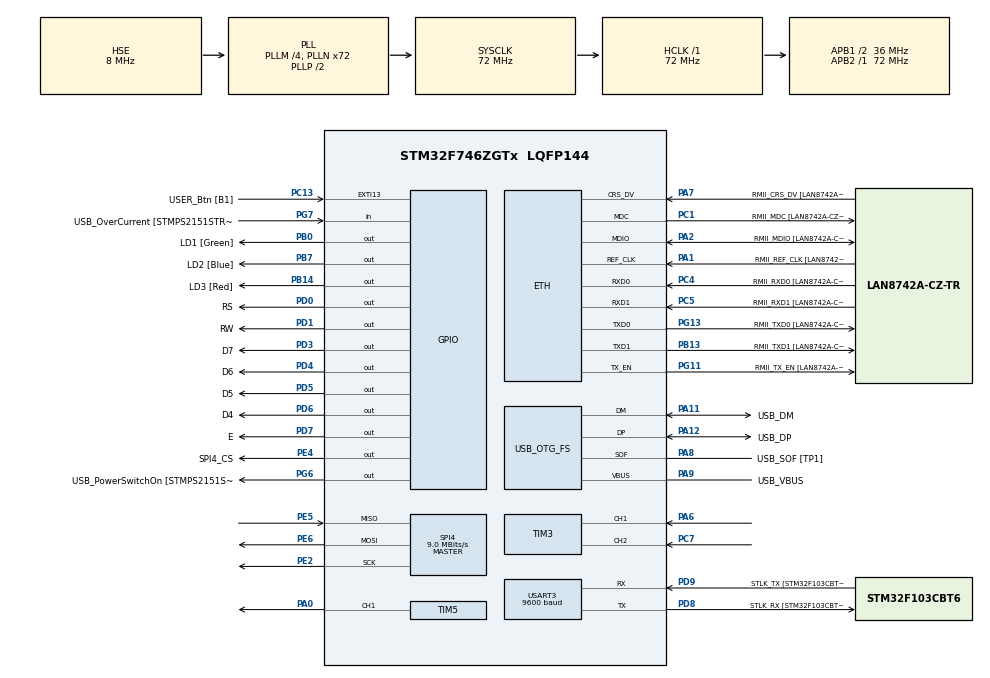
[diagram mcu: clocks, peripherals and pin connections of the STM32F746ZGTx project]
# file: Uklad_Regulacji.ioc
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ETH.MediaInterface=HAL_ETH_RMII_MODE
Mcu.Family=STM32F7
Mcu.Name=STM32F746ZGTx
Mcu.Package=LQFP144
NVIC.PriorityGroup=NVIC_PRIORITYGROUP_4
NVIC.TIM2_IRQn=true\:0\:0\:false\:false\:true\:true\:true\:true
NVIC.USART3_IRQn=true\:0\:0\:false\:false\:true\:true\:true\:true
PA0/WKUP.Signal=S_TIM5_CH1
PA1.GPIO_Label=RMII_REF_CLK [LAN8742A-CZ-TR_REFCLK0]
PA1.Mode=RMII
PA1.Signal=ETH_REF_CLK
PA10.GPIO_Label=USB_ID
PA10.Signal=USB_OTG_FS_ID
PA11.GPIO_Label=USB_DM
PA11.Mode=Device_Only
PA11.Signal=USB_OTG_FS_DM
PA12.GPIO_Label=USB_DP
PA12.Mode=Device_Only
PA12.Signal=USB_OTG_FS_DP
PA13.GPIO_Label=TMS
PA13.Mode=Serial_Wire
PA13.Signal=SYS_JTMS-SWDIO
PA14.GPIO_Label=TCK
PA14.Mode=Serial_Wire
PA14.Signal=SYS_JTCK-SWCLK
PA2.GPIO_Label=RMII_MDIO [LAN8742A-CZ-TR_MDIO]
PA2.Mode=RMII
PA2.Signal=ETH_MDIO
PA6.Signal=S_TIM3_CH1
PA7.GPIO_Label=RMII_CRS_DV [LAN8742A-CZ-TR_CRS_DV]
PA7.Mode=RMII
PA7.Signal=ETH_CRS_DV
PA8.GPIO_Label=USB_SOF [TP1]
PA8.Mode=Activate_SOF_FS
PA8.Signal=USB_OTG_FS_SOF
PA9.GPIO_Label=USB_VBUS
PA9.Mode=Activate_VBUS
PA9.Signal=USB_OTG_FS_VBUS
PB0.GPIO_Label=LD1 [Green]
PB0.Signal=GPIO_Output
PB13.GPIO_Label=RMII_TXD1 [LAN8742A-CZ-TR_TXD1]
PB13.Mode=RMII
PB13.Signal=ETH_TXD1
PB14.GPIO_Label=LD3 [Red]
PB14.Signal=GPIO_Output
PB3.GPIO_Label=SW0
PB3.Signal=SYS_JTDO-SWO
PB7.GPIO_Label=LD2 [Blue]
PB7.Signal=GPIO_Output
PC1.GPIO_Label=RMII_MDC [LAN8742A-CZ-TR_MDC]
PC1.Mode=RMII
PC1.Signal=ETH_MDC
PC13.GPIO_Label=USER_Btn [B1]
PC13.Signal=GPXTI13
PC14/OSC32_IN.Mode=LSE-External-Oscillator
PC14/OSC32_IN.Signal=RCC_OSC32_IN
PC15/OSC32_OUT.Mode=LSE-External-Oscillator
PC15/OSC32_OUT.Signal=RCC_OSC32_OUT
PC4.GPIO_Label=RMII_RXD0 [LAN8742A-CZ-TR_RXD0]
PC4.Mode=RMII
PC4.Signal=ETH_RXD0
PC5.GPIO_Label=RMII_RXD1 [LAN8742A-CZ-TR_RXD1]
PC5.Mode=RMII
PC5.Signal=ETH_RXD1
PC7.Signal=S_TIM3_CH2
PD0.GPIO_Label=RS
PD0.Signal=GPIO_Output
PD1.GPIO_Label=RW
PD1.Signal=GPIO_Output
PD3.GPIO_Label=D7
PD3.Signal=GPIO_Output
PD4.GPIO_Label=D6
PD4.Signal=GPIO_Output
PD5.GPIO_Label=D5
PD5.Signal=GPIO_Output
PD6.GPIO_Label=D4
PD6.Signal=GPIO_Output
PD7.GPIO_Label=E
PD7.Signal=GPIO_Output
PD8.GPIO_Label=STLK_RX [STM32F103CBT6_PA3]
PD8.GPIO_PuPd=GPIO_PULLUP
PD8.Mode=Asynchronous
PD8.Signal=USART3_TX
PD9.GPIO_Label=STLK_TX [STM32F103CBT6_PA2]
PD9.GPIO_PuPd=GPIO_PULLUP
PD9.Mode=Asynchronous
PD9.Signal=USART3_RX
PE2.Mode=Full_Duplex_Master
PE2.Signal=SPI4_SCK
PE4.GPIO_Label=SPI4_CS
PE4.PinState=GPIO_PIN_SET
PE4.Signal=GPIO_Output
PE5.Mode=Full_Duplex_Master
PE5.Signal=SPI4_MISO
PE6.Mode=Full_Duplex_Master
PE6.Signal=SPI4_MOSI
PG11.GPIO_Label=RMII_TX_EN [LAN8742A-CZ-TR_TXEN]
PG11.Mode=RMII
PG11.Signal=ETH_TX_EN
PG13.GPIO_Label=RMII_TXD0 [LAN8742A-CZ-TR_TXD0]
PG13.Mode=RMII
PG13.Signal=ETH_TXD0
PG6.GPIO_Label=USB_PowerSwitchOn [STMPS2151STR_EN]
PG6.Signal=GPIO_Output
PG7.GPIO_Label=USB_OverCurrent [STMPS2151STR_FAULT]
PG7.Signal=GPIO_Input
PH0/OSC_IN.GPIO_Label=MCO [STM32F103CBT6_PA8]
PH0/OSC_IN.Mode=HSE-External-Clock-Source
PH0/OSC_IN.Signal=RCC_OSC_IN
PH1/OSC_OUT.Mode=HSE-External-Clock-Source
PH1/OSC_OUT.Signal=RCC_OSC_OUT
ProjectManager.HeapSize=0x200
ProjectManager.StackSize=0x400
ProjectManager.TargetToolchain=STM32CubeIDE
RCC.48MHZClocksFreq_Value=24000000
RCC.AHBFreq_Value=72000000
RCC.APB1CLKDivider=RCC_HCLK_DIV2
RCC.APB1Freq_Value=36000000
RCC.APB1TimFreq_Value=72000000
RCC.APB2Freq_Value=72000000
RCC.APB2TimFreq_Value=72000000
RCC.CortexFreq_Value=72000000
RCC.HCLKFreq_Value=72000000
RCC.HSE_VALUE=8000000
RCC.HSI_VALUE=16000000
RCC.PLLM=4
RCC.PLLMUL=RCC_PLL_MUL9
RCC.PLLN=72
RCC.PLLQ=3
RCC.PRESCALERUSB=RCC_USBCLKSOURCE_PLL_DIV1_5
RCC.SYSCLKFreq_VALUE=72000000
RCC.SYSCLKSource=RCC_SYSCLKSOURCE_PLLCLK
RCC.SYSCLKSourceVirtual=RCC_SYSCLKSOURCE_PLLCLK
RCC.USBFreq_Value=48000000
RCC.VCOOutputFreq_Value=144000000
SH.S_TIM3_CH1.0=TIM3_CH1,Encoder_Interface
SH.S_TIM3_CH2.0=TIM3_CH2,Encoder_Interface
SH.S_TIM5_CH1.0=TIM5_CH1,PWM Generation1 CH1
SPI4.BaudRatePrescaler=SPI_BAUDRATEPRESCALER_8
SPI4.CLKPhase=SPI_PHASE_2EDGE
SPI4.CLKPolarity=SPI_POLARITY_HIGH
SPI4.CalculateBaudRate=9.0 MBits/s
SPI4.DataSize=SPI_DATASIZE_8BIT
SPI4.Direction=SPI_DIRECTION_2LINES
SPI4.Mode=SPI_MODE_MASTER
SPI4.VirtualType=VM_MASTER
TIM2.Period=124999
TIM2.Prescaler=71
TIM3.EncoderMode=TIM_ENCODERMODE_TI1
TIM3.IC1Filter=15
TIM3.IC2Filter=15
TIM3.TIM_MasterOutputTrigger=TIM_TRGO_RESET
TIM5.Channel-PWM\ Generation1\ CH1=TIM_CHANNEL_1
TIM5.Period=143999
TIM5.Prescaler=0
USART3.BaudRate=9600
USART3.VirtualMode-Asynchronous=VM_ASYNC
USB_OTG_FS.VirtualMode=Device_Only
VP_TIM2_VS_ClockSourceINT.Mode=Internal
VP_TIM5_VS_ClockSourceINT.Mode=Internal
board=NUCLEO-F746ZG

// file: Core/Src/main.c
/* USER CODE BEGIN Header */
/**
  ******************************************************************************
  * @file           : main.c
  * @brief          : Main program body
  ******************************************************************************
  * @attention
  *
  * Copyright (c) 2024 STMicroelectronics.
  * All rights reserved.
  *
  * This software is licensed under terms that can be found in the LICENSE file
  * in the root directory of this software component.
  * If no LICENSE file comes with this software, it is provided AS-IS.
  *
  ******************************************************************************
  */
/* USER CODE END Header */
#include "main.h"
#include "eth.h"
#include "spi.h"
#include "tim.h"
#include "usart.h"
#include "usb_otg.h"
#include "gpio.h"

/* USER CODE BEGIN Includes */
#include "bmp2_config.h"
#include "pid.h"
#include "obsluga.h"
#include "lcd.h"
/* USER CODE END Includes */

/* USER CODE BEGIN PV */
double pomiar_temperatury;
double temperaturowy_sygnal_wyjsciowy;
int wypelnienie_pwm;
double temperatura_zadana;
uint8_t bufor1[7];
PID regulator;
int poprzednia_wartosc;

/* USER CODE END PV */

void SystemClock_Config(void);

int main(void)
{

  /* MCU Configuration--------------------------------------------------------*/

  /* Reset of all peripherals, Initializes the Flash interface and the Systick. */
  HAL_Init();

  /* Configure the system clock */
  SystemClock_Config();

  /* Initialize all configured peripherals */
  MX_GPIO_Init();
  MX_USART3_UART_Init();
  MX_USB_OTG_FS_PCD_Init();
  MX_TIM2_Init();
  MX_SPI4_Init();
  MX_TIM5_Init();
  MX_ETH_Init();
  MX_TIM3_Init();
  /* USER CODE BEGIN 2 */
  BMP2_Init(&bmp2dev);
  HAL_TIM_Base_Start_IT(&htim2);
  LCD_Init();
  pomiar_temperatury = BMP2_ReadTemperature_degC(&bmp2dev);
  temperatura_zadana = (double)round(pomiar_temperatury);
  PID_Init(&regulator, 20, 0.3, 320.0,temperatura_zadana,1.0,0.125,0,25,0,25);
  HAL_TIM_Encoder_Start(&htim3, TIM_CHANNEL_ALL);
  HAL_UART_Receive_IT(&huart3,&bufor1,7);

  /* USER CODE END 2 */

  /* Infinite loop */
  /* USER CODE BEGIN WHILE */
  while (1)
  {
	  //obsługa enkodera
	  set_temperature_via_encoder(&htim3,&regulator,&temperatura_zadana,&poprzednia_wartosc);
	  //Wysyłanie do interfejsu
	  send_via_uart(temperatura_zadana,pomiar_temperatury,&huart3);

	  //Wyświetlanie do lcd
	  display_on_LCD(temperatura_zadana,pomiar_temperatury);
	  //Opóźnienie całości
	  HAL_Delay(130);
    /* USER CODE END WHILE */

  }
}

void SystemClock_Config(void)
{
  RCC_OscInitTypeDef RCC_OscInitStruct = {0};
  RCC_ClkInitTypeDef RCC_ClkInitStruct = {0};

  /** Configure LSE Drive Capability
  */
  HAL_PWR_EnableBkUpAccess();

  /** Configure the main internal regulator output voltage
  */
  __HAL_RCC_PWR_CLK_ENABLE();
  __HAL_PWR_VOLTAGESCALING_CONFIG(PWR_REGULATOR_VOLTAGE_SCALE3);

  /** Initializes the RCC Oscillators according to the specified parameters
  * in the RCC_OscInitTypeDef structure.
  */
  RCC_OscInitStruct.OscillatorType = RCC_OSCILLATORTYPE_HSE;
  RCC_OscInitStruct.HSEState = RCC_HSE_BYPASS;
  RCC_OscInitStruct.PLL.PLLState = RCC_PLL_ON;
  RCC_OscInitStruct.PLL.PLLSource = RCC_PLLSOURCE_HSE;
  RCC_OscInitStruct.PLL.PLLM = 4;
  RCC_OscInitStruct.PLL.PLLN = 72;
  RCC_OscInitStruct.PLL.PLLP = RCC_PLLP_DIV2;
  RCC_OscInitStruct.PLL.PLLQ = 3;
  if (HAL_RCC_OscConfig(&RCC_OscInitStruct) != HAL_OK)
  {
    Error_Handler();
  }

  /** Initializes the CPU, AHB and APB buses clocks
  */
  RCC_ClkInitStruct.ClockType = RCC_CLOCKTYPE_HCLK|RCC_CLOCKTYPE_SYSCLK
                              |RCC_CLOCKTYPE_PCLK1|RCC_CLOCKTYPE_PCLK2;
  RCC_ClkInitStruct.SYSCLKSource = RCC_SYSCLKSOURCE_PLLCLK;
  RCC_ClkInitStruct.AHBCLKDivider = RCC_SYSCLK_DIV1;
  RCC_ClkInitStruct.APB1CLKDivider = RCC_HCLK_DIV2;
  RCC_ClkInitStruct.APB2CLKDivider = RCC_HCLK_DIV1;

  if (HAL_RCC_ClockConfig(&RCC_ClkInitStruct, FLASH_LATENCY_2) != HAL_OK)
  {
    Error_Handler();
  }
}

/* USER CODE BEGIN 4 */

void HAL_TIM_PeriodElapsedCallback (TIM_HandleTypeDef * htim){

	if(htim == &htim2){
		pomiar_temperatury = BMP2_ReadTemperature_degC(&bmp2dev);
		temperaturowy_sygnal_wyjsciowy = PID_Compute(&regulator,pomiar_temperatury);
		wypelnienie_pwm = scale_temperature_to_pulse(temperaturowy_sygnal_wyjsciowy);
		set_PWM(&htim5,TIM_CHANNEL_1,wypelnienie_pwm);
	}

}

void HAL_UART_RxCpltCallback(UART_HandleTypeDef *huart){
	if(huart == &huart3){
		recieve_via_uart(&huart3,&temperatura_zadana,&bufor1);
	}
}

/* USER CODE END 4 */

void Error_Handler(void)
{
  __disable_irq();
  while (1)
  {
  }
}
